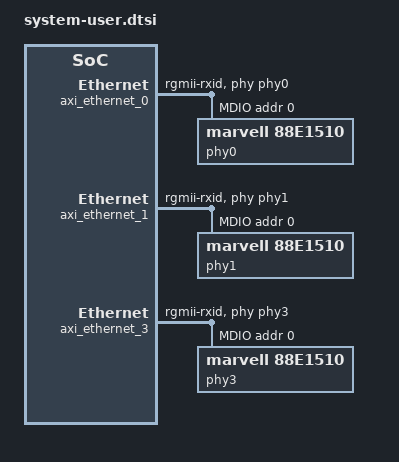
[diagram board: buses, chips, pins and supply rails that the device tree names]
/include/ "system-conf.dtsi"
/ {
};

    &axi_ethernet_0 {  
        local-mac-address = [00 0a 35 00 01 22];  
        phy-handle = <&phy0>;  
        xlnx,has-mdio = <0x1>;  
        phy-mode = "rgmii-rxid";  
        mdio {  
            #address-cells = <1>;  
            #size-cells = <0>;  
            phy0: phy@0 {  
                compatible = "marvell,88e1510";  
                device_type = "ethernet-phy";  
                reg = <0>;  
            };  
        };  
    };  
      
    &axi_ethernet_1 {  
        local-mac-address = [00 0a 35 00 01 23];  
        phy-handle = <&phy1>;  
        xlnx,has-mdio = <0x1>;  
        phy-mode = "rgmii-rxid";  
        mdio {  
            #address-cells = <1>;  
            #size-cells = <0>;  
            phy1: phy@0 {  
                compatible = "marvell,88e1510";  
                device_type = "ethernet-phy";  
                reg = <0>;  
            };  
        };  
    };  
      
    &axi_ethernet_3 {  
        local-mac-address = [00 0a 35 00 01 25];  
        phy-handle = <&phy3>;  
        xlnx,has-mdio = <0x1>;  
        phy-mode = "rgmii-rxid";  
        mdio {  
            #address-cells = <1>;  
            #size-cells = <0>;  
            phy3: phy@0 {  
                compatible = "marvell,88e1510";  
                device_type = "ethernet-phy";  
                reg = <0>;  
            };  
        };  
    };  

